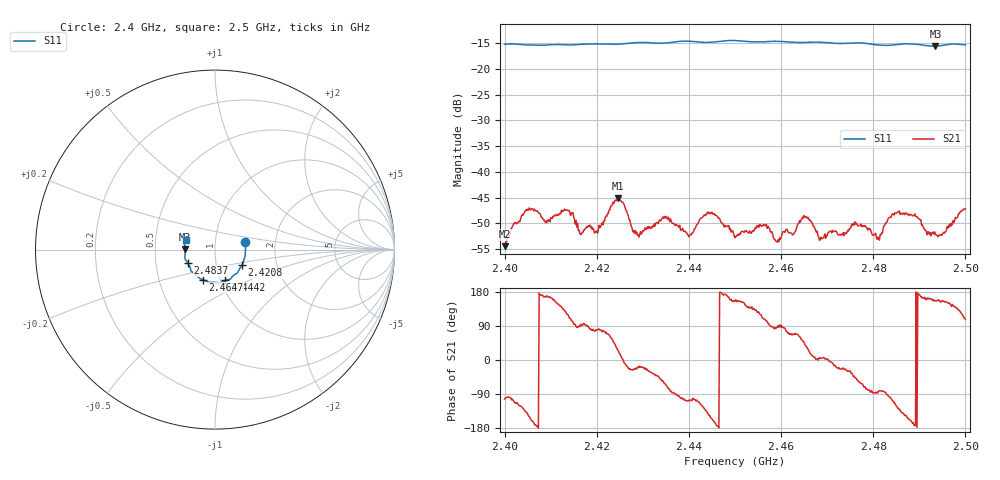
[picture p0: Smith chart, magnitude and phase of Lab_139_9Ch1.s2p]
# Hz S RI R 50
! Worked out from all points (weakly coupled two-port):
!   601 points, 2.4 GHz to 2.5 GHz, reference 50 ohm
!   highest |S21| = -45.18 dB at 2.4245 GHz (marker M1); lowest = -54.4 dB at 2.4 GHz (marker M2)
!   lowest |S11| = -15.6 dB at 2.4935 GHz (marker M3), VSWR 1.40, Z = 35.8 + j0.206 ohm
!   |S11| at or under -10 dB: start of sweep to end of sweep
!   S12 and S22 are empty: the file has one direction only
!   S11 on the Smith chart (normalised r, x): 2.4 GHz: 1.40, +0.12; 2.4208 GHz: 1.33, -0.24; 2.4442 GHz: 1.05, -0.37; 2.4647 GHz: 0.83, -0.29; 2.4837 GHz: 0.73, -0.11; 2.5 GHz: 0.72, +0.08
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2.4e9  0.1679 0.0412  -0.000432 -0.00185  0 0  0 0
2.4055e9  0.1702 0.00469  -0.00382 -0.00208  0 0  0 0
2.4135e9  0.1641 -0.0475  -0.00216 0.00364  0 0  0 0
2.416667e9  0.1589 -0.068  -0.000113 0.00249  0 0  0 0
2.420833e9  0.1505 -0.087  0.000544 0.0029  0 0  0 0
2.4245e9  0.1377 -0.1055  0.00488 0.00255  0 0  0 0
2.428667e9  0.1276 -0.1261  0.00239 -0.00102  0 0  0 0
2.433333e9  0.1079 -0.1401  0.00232 -0.00212  0 0  0 0
2.440167e9  0.0813 -0.1663  -0.000719 -0.00232  0 0  0 0
2.444167e9  0.0566 -0.1712  -0.00318 -0.0025  0 0  0 0
2.45e9  0.0245 -0.1864  -0.00209 0.000928  0 0  0 0
2.456333e9  -0.016 -0.1821  -0.000924 0.0029  0 0  0 0
2.459333e9  -0.0324 -0.1817  -1.45e-05 0.00219  0 0  0 0
2.464667e9  -0.0672 -0.167  0.00228 0.00284  0 0  0 0
2.466667e9  -0.0801 -0.1626  0.00314 0.000734  0 0  0 0
2.468667e9  -0.0884 -0.1582  0.00231 0.000176  0 0  0 0
2.475833e9  -0.1268 -0.1247  0.00223 -0.00207  0 0  0 0
2.481167e9  -0.1402 -0.0956  0.00032 -0.00227  0 0  0 0
2.483333e9  -0.1505 -0.076  -0.000321 -0.00355  0 0  0 0
2.483667e9  -0.1523 -0.0732  -0.00053 -0.00358  0 0  0 0
2.4935e9  -0.1659 0.0028  -0.00225 0.001  0 0  0 0
2.5e9  -0.1626 0.0528  -0.00134 0.00416  0 0  0 0
